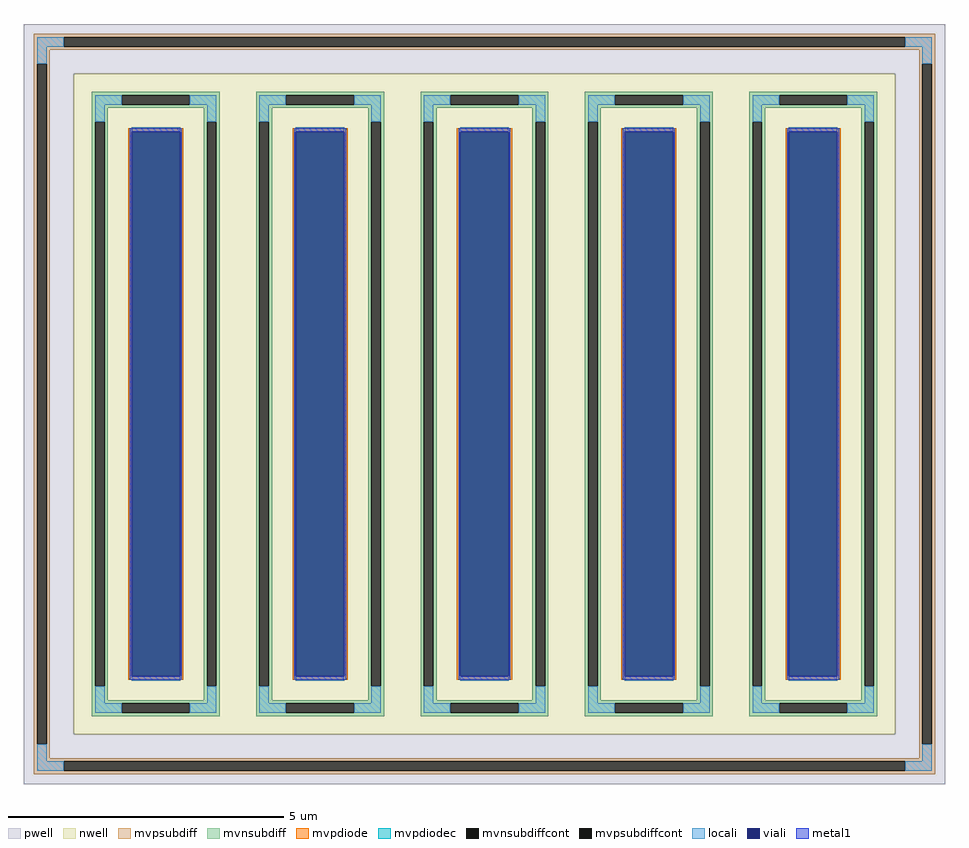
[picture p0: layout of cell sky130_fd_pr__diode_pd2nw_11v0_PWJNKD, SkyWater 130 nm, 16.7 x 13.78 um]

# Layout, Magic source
magic
tech sky130A
<< nwell >>
rect -745 -599 745 599
<< pwell >>
rect -835 599 835 689
rect -835 -599 -745 599
rect 745 -599 835 599
rect -835 -689 835 -599
<< mvpsubdiff >>
rect -817 665 817 671
rect -817 648 -763 665
rect 763 648 817 665
rect -817 642 817 648
rect -817 617 -788 642
rect -817 -617 -811 617
rect -794 -617 -788 617
rect 788 617 817 642
rect -817 -642 -788 -617
rect 788 -617 794 617
rect 811 -617 817 617
rect 788 -642 817 -617
rect -817 -648 817 -642
rect -817 -665 -763 -648
rect 763 -665 817 -648
rect -817 -671 817 -665
<< mvnsubdiff >>
rect -712 560 -480 566
rect -712 543 -658 560
rect -534 543 -480 560
rect -712 537 -480 543
rect -712 512 -683 537
rect -712 -512 -706 512
rect -689 -512 -683 512
rect -509 512 -480 537
rect -712 -537 -683 -512
rect -509 -512 -503 512
rect -486 -512 -480 512
rect -509 -537 -480 -512
rect -712 -543 -480 -537
rect -712 -560 -658 -543
rect -534 -560 -480 -543
rect -712 -566 -480 -560
rect -414 560 -182 566
rect -414 543 -360 560
rect -236 543 -182 560
rect -414 537 -182 543
rect -414 512 -385 537
rect -414 -512 -408 512
rect -391 -512 -385 512
rect -211 512 -182 537
rect -414 -537 -385 -512
rect -211 -512 -205 512
rect -188 -512 -182 512
rect -211 -537 -182 -512
rect -414 -543 -182 -537
rect -414 -560 -360 -543
rect -236 -560 -182 -543
rect -414 -566 -182 -560
rect -116 560 116 566
rect -116 543 -62 560
rect 62 543 116 560
rect -116 537 116 543
rect -116 512 -87 537
rect -116 -512 -110 512
rect -93 -512 -87 512
rect 87 512 116 537
rect -116 -537 -87 -512
rect 87 -512 93 512
rect 110 -512 116 512
rect 87 -537 116 -512
rect -116 -543 116 -537
rect -116 -560 -62 -543
rect 62 -560 116 -543
rect -116 -566 116 -560
rect 182 560 414 566
rect 182 543 236 560
rect 360 543 414 560
rect 182 537 414 543
rect 182 512 211 537
rect 182 -512 188 512
rect 205 -512 211 512
rect 385 512 414 537
rect 182 -537 211 -512
rect 385 -512 391 512
rect 408 -512 414 512
rect 385 -537 414 -512
rect 182 -543 414 -537
rect 182 -560 236 -543
rect 360 -560 414 -543
rect 182 -566 414 -560
rect 480 560 712 566
rect 480 543 534 560
rect 658 543 712 560
rect 480 537 712 543
rect 480 512 509 537
rect 480 -512 486 512
rect 503 -512 509 512
rect 683 512 712 537
rect 480 -537 509 -512
rect 683 -512 689 512
rect 706 -512 712 512
rect 683 -537 712 -512
rect 480 -543 712 -537
rect 480 -560 534 -543
rect 658 -560 712 -543
rect 480 -566 712 -560
<< mvpsubdiffcont >>
rect -763 648 763 665
rect -811 -617 -794 617
rect 794 -617 811 617
rect -763 -665 763 -648
<< mvnsubdiffcont >>
rect -658 543 -534 560
rect -706 -512 -689 512
rect -503 -512 -486 512
rect -658 -560 -534 -543
rect -360 543 -236 560
rect -408 -512 -391 512
rect -205 -512 -188 512
rect -360 -560 -236 -543
rect -62 543 62 560
rect -110 -512 -93 512
rect 93 -512 110 512
rect -62 -560 62 -543
rect 236 543 360 560
rect 188 -512 205 512
rect 391 -512 408 512
rect 236 -560 360 -543
rect 534 543 658 560
rect 486 -512 503 512
rect 689 -512 706 512
rect 534 -560 658 -543
<< mvpdiode >>
rect -646 494 -546 500
rect -646 -494 -640 494
rect -552 -494 -546 494
rect -646 -500 -546 -494
rect -348 494 -248 500
rect -348 -494 -342 494
rect -254 -494 -248 494
rect -348 -500 -248 -494
rect -50 494 50 500
rect -50 -494 -44 494
rect 44 -494 50 494
rect -50 -500 50 -494
rect 248 494 348 500
rect 248 -494 254 494
rect 342 -494 348 494
rect 248 -500 348 -494
rect 546 494 646 500
rect 546 -494 552 494
rect 640 -494 646 494
rect 546 -500 646 -494
<< mvpdiodec >>
rect -640 -494 -552 494
rect -342 -494 -254 494
rect -44 -494 44 494
rect 254 -494 342 494
rect 552 -494 640 494
<< locali >>
rect -811 648 -763 665
rect 763 648 811 665
rect -811 617 -794 648
rect 794 617 811 648
rect -706 543 -658 560
rect -534 543 -486 560
rect -706 512 -689 543
rect -503 512 -486 543
rect -640 494 -552 502
rect -640 -502 -552 -494
rect -706 -543 -689 -512
rect -503 -543 -486 -512
rect -706 -560 -658 -543
rect -534 -560 -486 -543
rect -408 543 -360 560
rect -236 543 -188 560
rect -408 512 -391 543
rect -205 512 -188 543
rect -342 494 -254 502
rect -342 -502 -254 -494
rect -408 -543 -391 -512
rect -205 -543 -188 -512
rect -408 -560 -360 -543
rect -236 -560 -188 -543
rect -110 543 -62 560
rect 62 543 110 560
rect -110 512 -93 543
rect 93 512 110 543
rect -44 494 44 502
rect -44 -502 44 -494
rect -110 -543 -93 -512
rect 93 -543 110 -512
rect -110 -560 -62 -543
rect 62 -560 110 -543
rect 188 543 236 560
rect 360 543 408 560
rect 188 512 205 543
rect 391 512 408 543
rect 254 494 342 502
rect 254 -502 342 -494
rect 188 -543 205 -512
rect 391 -543 408 -512
rect 188 -560 236 -543
rect 360 -560 408 -543
rect 486 543 534 560
rect 658 543 706 560
rect 486 512 503 543
rect 689 512 706 543
rect 552 494 640 502
rect 552 -502 640 -494
rect 486 -543 503 -512
rect 689 -543 706 -512
rect 486 -560 534 -543
rect 658 -560 706 -543
rect -811 -648 -794 -617
rect 794 -648 811 -617
rect -811 -665 -763 -648
rect 763 -665 811 -648
<< viali >>
rect -640 -494 -552 494
rect -342 -494 -254 494
rect -44 -494 44 494
rect 254 -494 342 494
rect 552 -494 640 494
<< metal1 >>
rect -643 494 -549 500
rect -643 -494 -640 494
rect -552 -494 -549 494
rect -643 -500 -549 -494
rect -345 494 -251 500
rect -345 -494 -342 494
rect -254 -494 -251 494
rect -345 -500 -251 -494
rect -47 494 47 500
rect -47 -494 -44 494
rect 44 -494 47 494
rect -47 -500 47 -494
rect 251 494 345 500
rect 251 -494 254 494
rect 342 -494 345 494
rect 251 -500 345 -494
rect 549 494 643 500
rect 549 -494 552 494
rect 640 -494 643 494
rect 549 -500 643 -494
<< properties >>
string FIXED_BBOX 494 -551 697 551
string gencell sky130_fd_pr__diode_pd2nw_11v0
string library sky130
string parameters w 1 l 10 area 10.0 peri 22.0 nx 5 ny 1 dummy 0 lmin 0.45 wmin 0.45 elc 1 erc 1 etc 1 ebc 1 glc 1 grc 1 gtc 1 gbc 1 doverlap 0 compatible {sky130_fd_pr__diode_pd2nw_05v5 sky130_fd_pr__diode_pd2nw_05v5_lvt  sky130_fd_pr__diode_pd2nw_05v5_hvt sky130_fd_pr__diode_pd2nw_11v0} full_metal 1 vias 1 viagb 0 viagt 0 viagl 0 viagr 0
<< end >>
